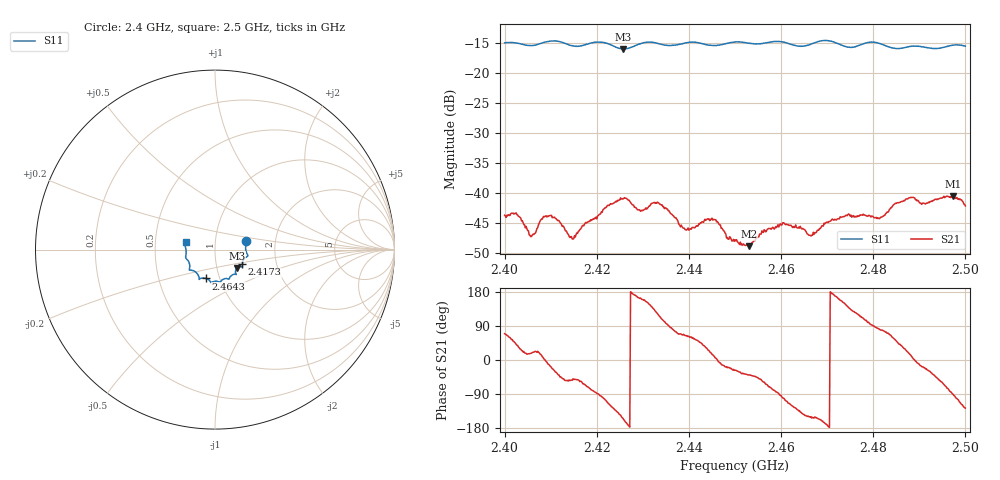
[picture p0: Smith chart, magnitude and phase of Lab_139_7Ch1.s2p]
# Hz S RI R 50
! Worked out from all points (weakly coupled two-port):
!   601 points, 2.4 GHz to 2.5 GHz, reference 50 ohm
!   highest |S21| = -40.44 dB at 2.4973 GHz (marker M1); lowest = -48.8 dB at 2.453 GHz (marker M2)
!   lowest |S11| = -15.9 dB at 2.4257 GHz (marker M3), VSWR 1.38, Z = 62.5 - j13.2 ohm
!   |S11| at or under -10 dB: start of sweep to end of sweep
!   S12 and S22 are empty: the file has one direction only
!   S11 on the Smith chart (normalised r, x): 2.4 GHz: 1.41, +0.14; 2.4173 GHz: 1.34, -0.23; 2.4643 GHz: 0.86, -0.29; 2.5 GHz: 0.72, +0.06
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2.4e9  0.1734 0.0487  0.00231 0.00616  0 0  0 0
2.402667e9  0.1752 0.0368  0.00516 0.00419  0 0  0 0
2.405833e9  0.1706 0.00372  0.00415 0.00136  0 0  0 0
2.409333e9  0.1822 -0.0307  0.0064 -0.00102  0 0  0 0
2.4145e9  0.1629 -0.0509  0.00261 -0.0035  0 0  0 0
2.416667e9  0.1529 -0.0743  0.00285 -0.00433  0 0  0 0
2.417333e9  0.1521 -0.0819  0.00236 -0.005  0 0  0 0
2.425667e9  0.1228 -0.1027  -0.00803 -0.00399  0 0  0 0
2.4295e9  0.116 -0.1343  -0.0068 0.00201  0 0  0 0
2.433333e9  0.1128 -0.137  -0.00412 0.0073  0 0  0 0
2.439e9  0.0804 -0.1596  0.00209 0.00468  0 0  0 0
2.445333e9  0.0527 -0.1624  0.00596 0.0012  0 0  0 0
2.45e9  0.0288 -0.1808  0.00366 -0.00185  0 0  0 0
2.453e9  0.0172 -0.1778  0.00281 -0.0023  0 0  0 0
2.460167e9  -0.0245 -0.182  -0.000705 -0.0054  0 0  0 0
2.464333e9  -0.0499 -0.1608  -0.00384 -0.00343  0 0  0 0
2.466667e9  -0.076 -0.1593  -0.004 -0.00203  0 0  0 0
2.474333e9  -0.1002 -0.1323  -0.00515 0.004  0 0  0 0
2.483333e9  -0.1403 -0.0899  0.00238 0.00665  0 0  0 0
2.488167e9  -0.1609 -0.0493  0.00907 0.00196  0 0  0 0
2.497333e9  -0.1698 0.0291  -4.95e-05 -0.00951  0 0  0 0
2.5e9  -0.1635 0.0421  -0.00474 -0.00628  0 0  0 0
